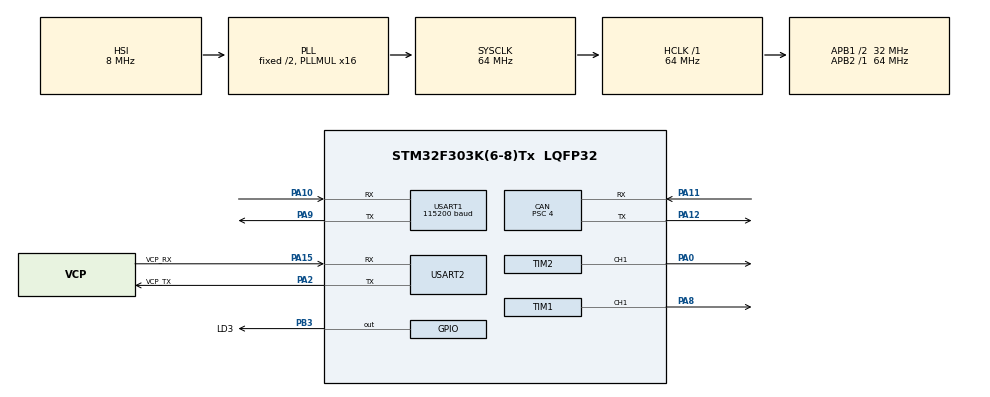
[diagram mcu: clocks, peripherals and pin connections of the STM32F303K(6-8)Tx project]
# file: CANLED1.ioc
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CAN.ABOM=ENABLE
CAN.AWUM=ENABLE
CAN.BS1=CAN_BS1_8TQ
CAN.BS2=CAN_BS2_7TQ
CAN.CalculateBaudRate=500000
CAN.CalculateTimeBit=2000
CAN.CalculateTimeQuantum=125.0
CAN.Mode=CAN_MODE_NORMAL
CAN.NART=DISABLE
CAN.Prescaler=4
CAN.SJW=CAN_SJW_2TQ
Dma.Request0=TIM2_CH1
Dma.Request1=TIM1_CH1
Dma.TIM1_CH1.1.Direction=DMA_MEMORY_TO_PERIPH
Dma.TIM1_CH1.1.Instance=DMA1_Channel2
Dma.TIM1_CH1.1.MemDataAlignment=DMA_MDATAALIGN_BYTE
Dma.TIM1_CH1.1.MemInc=DMA_MINC_ENABLE
Dma.TIM1_CH1.1.Mode=DMA_NORMAL
Dma.TIM1_CH1.1.PeriphDataAlignment=DMA_PDATAALIGN_WORD
Dma.TIM1_CH1.1.PeriphInc=DMA_PINC_DISABLE
Dma.TIM1_CH1.1.Priority=DMA_PRIORITY_LOW
Dma.TIM2_CH1.0.Direction=DMA_MEMORY_TO_PERIPH
Dma.TIM2_CH1.0.Instance=DMA1_Channel5
Dma.TIM2_CH1.0.MemDataAlignment=DMA_MDATAALIGN_BYTE
Dma.TIM2_CH1.0.MemInc=DMA_MINC_ENABLE
Dma.TIM2_CH1.0.Mode=DMA_NORMAL
Dma.TIM2_CH1.0.PeriphDataAlignment=DMA_PDATAALIGN_WORD
Dma.TIM2_CH1.0.PeriphInc=DMA_PINC_DISABLE
Dma.TIM2_CH1.0.Priority=DMA_PRIORITY_LOW
Mcu.Family=STM32F3
Mcu.Name=STM32F303K(6-8)Tx
Mcu.Package=LQFP32
NVIC.CAN_RX0_IRQn=true\:0\:0\:false\:false\:true\:true\:true\:true
NVIC.DMA1_Channel2_IRQn=true\:0\:0\:false\:false\:true\:false\:true\:true
NVIC.DMA1_Channel5_IRQn=true\:0\:0\:false\:false\:true\:false\:true\:true
NVIC.PriorityGroup=NVIC_PRIORITYGROUP_4
PA0.Signal=S_TIM2_CH1_ETR
PA10.Mode=Asynchronous
PA10.Signal=USART1_RX
PA11.GPIO_PuPd=GPIO_PULLUP
PA11.Mode=CAN_Activate
PA11.Signal=CAN_RX
PA12.Mode=CAN_Activate
PA12.Signal=CAN_TX
PA13.GPIO_Label=SWDIO
PA13.Mode=Serial_Wire
PA13.Signal=SYS_JTMS-SWDIO
PA14.GPIO_Label=SWCLK
PA14.Mode=Serial_Wire
PA14.Signal=SYS_JTCK-SWCLK
PA15.GPIO_Label=VCP_RX
PA15.Mode=Asynchronous
PA15.Signal=USART2_RX
PA2.GPIO_Label=VCP_TX
PA2.Mode=Asynchronous
PA2.Signal=USART2_TX
PA8.Signal=S_TIM1_CH1
PA9.Mode=Asynchronous
PA9.Signal=USART1_TX
PB3.GPIO_Label=LD3
PB3.Signal=GPIO_Output
PB4.Signal=S_TIM3_CH1
PF0\ /\ OSC_IN.GPIO_Label=MCO
PF0\ /\ OSC_IN.Mode=HSE-External-Clock-Source
PF0\ /\ OSC_IN.Signal=RCC_OSC_IN
ProjectManager.HeapSize=0x200
ProjectManager.StackSize=0x400
ProjectManager.TargetToolchain=CMake
RCC.AHBFreq_Value=64000000
RCC.APB1CLKDivider=RCC_HCLK_DIV2
RCC.APB1Freq_Value=32000000
RCC.APB1TimFreq_Value=64000000
RCC.APB2Freq_Value=64000000
RCC.APB2TimFreq_Value=64000000
RCC.CortexFreq_Value=64000000
RCC.HCLKFreq_Value=64000000
RCC.HSE_VALUE=8000000
RCC.HSI_VALUE=8000000
RCC.PLLMUL=RCC_PLL_MUL16
RCC.SYSCLKFreq_VALUE=64000000
RCC.SYSCLKSourceVirtual=RCC_SYSCLKSOURCE_PLLCLK
SH.S_TIM1_CH1.0=TIM1_CH1,PWM Generation1 CH1
SH.S_TIM2_CH1_ETR.0=TIM2_CH1,PWM Generation1 CH1
SH.S_TIM3_CH1.0=TIM3_CH1
TIM1.AutoReloadPreload=TIM_AUTORELOAD_PRELOAD_ENABLE
TIM1.Channel-PWM\ Generation1\ CH1=TIM_CHANNEL_1
TIM1.Period=79
TIM2.AutoReloadPreload=TIM_AUTORELOAD_PRELOAD_ENABLE
TIM2.Channel-PWM\ Generation1\ CH1=TIM_CHANNEL_1
TIM2.OCMode_PWM-PWM\ Generation1\ CH1=TIM_OCMODE_PWM1
TIM2.Period=79
USART1.BaudRate=115200
USART1.VirtualMode-Asynchronous=VM_ASYNC
USART2.VirtualMode-Asynchronous=VM_ASYNC
board=NUCLEO-F303K8

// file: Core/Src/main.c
/* USER CODE BEGIN Header */
/**
  ******************************************************************************
  * @file           : main.c
  * @brief          : Main program body
  ******************************************************************************
  * @attention
  *
  * Copyright (c) 2025 STMicroelectronics.
  * All rights reserved.
  *
  * This software is licensed under terms that can be found in the LICENSE file
  * in the root directory of this software component.
  * If no LICENSE file comes with this software, it is provided AS-IS.
  *
  ******************************************************************************
  */
/* USER CODE END Header */
#include "main.h"
#include "can.h"
#include "dma.h"
#include "tim.h"
#include "usart.h"
#include "gpio.h"

/* USER CODE BEGIN Includes */
#include "stdlib.h"
#include "string.h"
#include "WS2812.h"
/* USER CODE END Includes */

/* USER CODE BEGIN PV */

uint8_t               CANmsgReady;
CAN_RxHeaderTypeDef   RxHeader;
uint8_t               RxData[8];

typedef struct
{

  uint32_t time;
  uint8_t  info;
  uint8_t  replay;
  uint16_t match;
  uint8_t  msgRec;

}FRC_HEARTBBEAT_TypeDef;
 FRC_HEARTBBEAT_TypeDef FRC;
#define FRC_HEARTBBEAT 0x01011840  // for waveforms use 040 11840 not sure why I cant just enter the full ext id but go off ig
/*  Start bit ,  Signals    , len, byte
 *  0 , Time of day hours  , 5 , 1
 *  5 , time of dat minutes, 6 , 1-2
 *  11, time of dat seconds, 6,  2-3
 *  17, time of day day    , 5 , 3
 *  22, time of day month  , 4 , 3-4
 *  26, time of day year   , 6 , 4
 *  32, tournament type    , 3 , 5
 *  35, system watchdog    , 1 , 5
 *  36, test mode          , 1 , 5
 *  37, Autonomus Mode     , 1 , 5
 *  38, Enabled            , 1 , 5
 *  39, Red alliance       , 1 , 5
 *  40, Replay number      , 6 , 6
 *  46, match number       , 10, 6-7
 *  56, match time         , 8 , 8
 *
 * vars
 *  uint32_t time   = bytes[1:4]
 *  uint8_t  info   = bytes[5:5]
 *  uint8_t  replay = bytes[6:6] //no way we care if there are more than 255 matches
 *  uint16_t match  = bytes[7:8]
 */

/* USER CODE END PV */

void SystemClock_Config(void);
/* USER CODE BEGIN PFP */

void ProcessCANMessage();
void FRCHeartBeatReactive(LEDArray *LED);
void SineWave(LEDArray *LED,  uint8_t col, float A, float offset );
/* USER CODE END PFP */

int main(void)
{

  /* MCU Configuration--------------------------------------------------------*/

  /* Reset of all peripherals, Initializes the Flash interface and the Systick. */
  HAL_Init();

  /* Configure the system clock */
  SystemClock_Config();

  /* Initialize all configured peripherals */
  MX_GPIO_Init();
  MX_DMA_Init();
  MX_TIM2_Init();
  MX_USART2_UART_Init();
  MX_CAN_Init();
  MX_USART1_UART_Init();
  MX_TIM1_Init();

  /* Infinite loop */
  /* USER CODE BEGIN WHILE */
  HAL_CAN_Start(&hcan);
  HAL_CAN_ActivateNotification(&hcan, CAN_IT_RX_FIFO0_MSG_PENDING);

  initLEDArray(&Array[0],numLEDs,&htim2,TIM_CHANNEL_1);
  initLEDArray(&Array[1],numLEDs,&htim1,TIM_CHANNEL_1);

  FRC.match = 0x0;//FF;

  CFG.Selection = ALL_ARRAYS;
  CFG.Enable    = 1;
  CFG.Function  = DEMO1;
  CFG.Delay     = 17;
  CFG.Mult      = 1;

  int FunctionLast =-1;

  while (1)
  {

  if(CANmsgReady == 1)
    {
      ProcessCANMessage();
    }

  for(int i = 0; i<numArrays;i++)
  {

    if(CFG.Selection == i || CFG.Selection == ALL_ARRAYS)
    {

      Array[i].Enabled = CFG.Enable;

      if(Array[i].Enabled == 1)
      {
        switch (CFG.Function)
        {
          case DEMO1:
            Demo1(&Array[i],FunctionLast);
            break;

          case DEMO2:
            Demo2(&Array[i]);
            break;

          case MANUAL:
            SetLED(&Array[i],CFG.Index,CFG.R,CFG.G,CFG.B);
            ShiftLED(&Array[i],CFG.Shift);
            break;

          case REACTIVE:
            FRCHeartBeatReactive(&Array[i]);
            break;

          default:
            break;
      }

      }

    }
    else
    {
        //Turn off All LEDs when the array isnt enabled by setting LED Data to 0
      memset(Array[i].LEDData, 0, sizeof(Array[i].LEDData));
    }

      if(!Array[i].PWM_BUSY)
      {
        UpdateLEDs(&Array[i]);
      }

  }

   FunctionLast = CFG.Function;
    HAL_Delay(CFG.Delay*CFG.Mult);
    /* USER CODE END WHILE */

  }
}

void SystemClock_Config(void)
{
  RCC_OscInitTypeDef RCC_OscInitStruct = {0};
  RCC_ClkInitTypeDef RCC_ClkInitStruct = {0};
  RCC_PeriphCLKInitTypeDef PeriphClkInit = {0};

  /** Initializes the RCC Oscillators according to the specified parameters
  * in the RCC_OscInitTypeDef structure.
  */
  RCC_OscInitStruct.OscillatorType = RCC_OSCILLATORTYPE_HSI;
  RCC_OscInitStruct.HSIState = RCC_HSI_ON;
  RCC_OscInitStruct.HSICalibrationValue = RCC_HSICALIBRATION_DEFAULT;
  RCC_OscInitStruct.PLL.PLLState = RCC_PLL_ON;
  RCC_OscInitStruct.PLL.PLLSource = RCC_PLLSOURCE_HSI;
  RCC_OscInitStruct.PLL.PLLMUL = RCC_PLL_MUL16;
  if (HAL_RCC_OscConfig(&RCC_OscInitStruct) != HAL_OK)
  {
    Error_Handler();
  }

  /** Initializes the CPU, AHB and APB buses clocks
  */
  RCC_ClkInitStruct.ClockType = RCC_CLOCKTYPE_HCLK|RCC_CLOCKTYPE_SYSCLK
                              |RCC_CLOCKTYPE_PCLK1|RCC_CLOCKTYPE_PCLK2;
  RCC_ClkInitStruct.SYSCLKSource = RCC_SYSCLKSOURCE_PLLCLK;
  RCC_ClkInitStruct.AHBCLKDivider = RCC_SYSCLK_DIV1;
  RCC_ClkInitStruct.APB1CLKDivider = RCC_HCLK_DIV2;
  RCC_ClkInitStruct.APB2CLKDivider = RCC_HCLK_DIV1;

  if (HAL_RCC_ClockConfig(&RCC_ClkInitStruct, FLASH_LATENCY_2) != HAL_OK)
  {
    Error_Handler();
  }
  PeriphClkInit.PeriphClockSelection = RCC_PERIPHCLK_USART1|RCC_PERIPHCLK_TIM1;
  PeriphClkInit.Usart1ClockSelection = RCC_USART1CLKSOURCE_PCLK1;
  PeriphClkInit.Tim1ClockSelection = RCC_TIM1CLK_HCLK;
  if (HAL_RCCEx_PeriphCLKConfig(&PeriphClkInit) != HAL_OK)
  {
    Error_Handler();
  }
}

/* USER CODE BEGIN 4 */

void HAL_TIM_PWM_PulseFinishedCallback(TIM_HandleTypeDef *htim)
{

  for(int i = 0; i<numArrays; i++)
  {

    if(htim->Instance == Array[i].htim->Instance)
    {
        HAL_TIM_PWM_Stop_DMA(Array[i].htim, Array[i].Channel);
        Array[i].PWM_BUSY=0;
    }

  }

}

void SineWave(LEDArray *LED,  uint8_t col, float A, float offset )
{

  for(float i =0; i< (float) LED->numLED;i++)
  {
    float res= offset + A*sin(2*3.14f*i/ ((float) LED->numLED));

    switch (col)
    {
    case 0://red
      SetLED(LED,i,(uint8_t)res,0,0);
      break;

    case 1://green
      SetLED(LED,i,0,(uint8_t)res,0);
      break;

    case 2://blue
      SetLED(LED,i,0,0,(uint8_t)res);
      break;

    default:
      break;
    }
  }

}

void FRCHeartBeatReactive(LEDArray *LED)
{

  static uint8_t PrevColor = -1;
  uint8_t color = (FRC.info & 0b10000000 );

  if(PrevColor != color)
  {

    if(color == 0x80) //red alliance
    {
        SineWave(LED,0,50, 70);
    }
    else if( color == 0) //blue alliance
    {
        SineWave(LED,2,50, 70);
    }

  } else {

    ShiftLED(LED,-1);
  }

  PrevColor = color;

}

void HAL_CAN_RxFifo0MsgPendingCallback(CAN_HandleTypeDef *hcan)
{
 HAL_CAN_GetRxMessage(hcan, CAN_RX_FIFO0, &RxHeader, RxData);
 HAL_GPIO_TogglePin(LD3_GPIO_Port,LD3_Pin);
 CANmsgReady = 1;
}

void ProcessCANMessage()
{

switch (RxHeader.ExtId)
{
case FRC_HEARTBBEAT:

  FRC.time   = (RxData[3]<<24) + (RxData[2]<<16) + (RxData[1]<<8) + (RxData[0]);
  FRC.info   = RxData[4];
  FRC.replay = RxData[5];
  FRC.match  = (RxData[7]<<8)  + RxData[7];

  /* code */
  break;

case ArrayConfig:

  CFG.Selection = (RxData[0] & 0b00000111)     ;
  CFG.Enable    = (RxData[0] & 0b00001000) >> 4;
  CFG.Function  = (RxData[0] & 0b00110000) >> 5;
  CFG.Shift     = (RxData[0] & 0b11000000) >> 6;
  CFG.Index     = RxData[1];
  CFG.R         = RxData[2];
  CFG.G         = RxData[3];
  CFG.B         = RxData[4];
  CFG.Delay     = RxData[5];
  CFG.Mult      = RxData[6] & 0b00001111;

  break;

default:
  break;

}

CANmsgReady = 0;
}

/* USER CODE END 4 */

void Error_Handler(void)
{
  __disable_irq();
  while (1)
  {
  }
}
